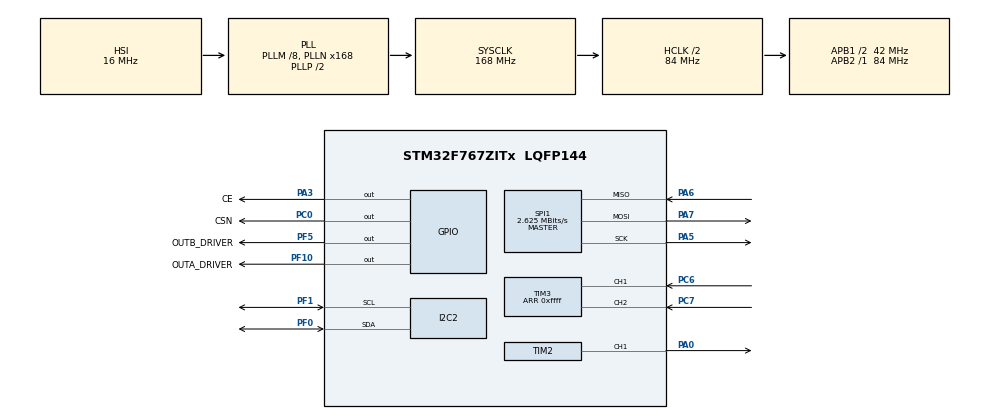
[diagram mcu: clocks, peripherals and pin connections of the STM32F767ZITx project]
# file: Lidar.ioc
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I2C2.Timing=0x00A0A3F7
Mcu.Family=STM32F7
Mcu.Name=STM32F767ZITx
Mcu.Package=LQFP144
NVIC.I2C2_ER_IRQn=true\:2\:0\:true\:false\:true\:true\:true
NVIC.I2C2_EV_IRQn=true\:3\:0\:true\:false\:true\:true\:true
NVIC.PriorityGroup=NVIC_PRIORITYGROUP_4
NVIC.TIM1_UP_TIM10_IRQn=true\:1\:0\:true\:false\:true\:true\:true
PA0/WKUP.Signal=S_TIM2_CH1_ETR
PA3.GPIO_Label=CE
PA3.Signal=GPIO_Output
PA5.Mode=Full_Duplex_Master
PA5.Signal=SPI1_SCK
PA6.Mode=Full_Duplex_Master
PA6.Signal=SPI1_MISO
PA7.Mode=Full_Duplex_Master
PA7.Signal=SPI1_MOSI
PB8.Signal=I2C1_SCL
PB9.Signal=I2C1_SDA
PC0.GPIO_Label=CSN
PC0.Signal=GPIO_Output
PC6.GPIO_PuPd=GPIO_PULLUP
PC6.Signal=S_TIM3_CH1
PC7.GPIO_PuPd=GPIO_PULLUP
PC7.Signal=S_TIM3_CH2
PF0.Mode=I2C
PF0.Signal=I2C2_SDA
PF1.Mode=I2C
PF1.Signal=I2C2_SCL
PF10.GPIO_Label=OUTA_DRIVER
PF10.Signal=GPIO_Output
PF5.GPIO_Label=OUTB_DRIVER
PF5.Signal=GPIO_Output
ProjectManager.HeapSize=0x200
ProjectManager.StackSize=0x400
ProjectManager.TargetToolchain=MDK-ARM V5
RCC.AHBCLKDivider=RCC_SYSCLK_DIV2
RCC.AHBFreq_Value=84000000
RCC.APB1CLKDivider=RCC_HCLK_DIV2
RCC.APB1Freq_Value=42000000
RCC.APB1TimFreq_Value=84000000
RCC.APB2Freq_Value=84000000
RCC.APB2TimFreq_Value=84000000
RCC.CortexFreq_Value=84000000
RCC.HCLKFreq_Value=84000000
RCC.HSE_VALUE=25000000
RCC.HSI_VALUE=16000000
RCC.LSE_VALUE=32768
RCC.PLLM=8
RCC.PLLN=168
RCC.SYSCLKFreq_VALUE=168000000
RCC.SYSCLKSource=RCC_SYSCLKSOURCE_PLLCLK
RCC.USBFreq_Value=168000000
RCC.VCOOutputFreq_Value=336000000
SH.S_TIM2_CH1_ETR.0=TIM2_CH1,PWM Generation1 CH1
SH.S_TIM3_CH1.0=TIM3_CH1,Encoder_Interface
SH.S_TIM3_CH2.0=TIM3_CH2,Encoder_Interface
SPI1.BaudRatePrescaler=SPI_BAUDRATEPRESCALER_32
SPI1.CalculateBaudRate=2.625 MBits/s
SPI1.DataSize=SPI_DATASIZE_8BIT
SPI1.Direction=SPI_DIRECTION_2LINES
SPI1.Mode=SPI_MODE_MASTER
SPI1.VirtualType=VM_MASTER
TIM1.Period=5000
TIM1.Prescaler=9600
TIM2.Channel-PWM\ Generation1\ CH1=TIM_CHANNEL_1
TIM2.Period=100
TIM2.Prescaler=216
TIM3.EncoderMode=TIM_ENCODERMODE_TI12
TIM3.Period=0xffff
VP_TIM1_VS_ClockSourceINT.Mode=Internal
board=custom

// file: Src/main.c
/* USER CODE BEGIN Header */
/**
  ******************************************************************************
  * @file           : main.c
  * @brief          : Main program body
  ******************************************************************************
  * @attention
  *
  * <h2><center>&copy; Copyright (c) 2019 STMicroelectronics.
  * All rights reserved.</center></h2>
  *
  * This software component is licensed by ST under BSD 3-Clause license,
  * the "License"; You may not use this file except in compliance with the
  * License. You may obtain a copy of the License at:
  *                        opensource.org/licenses/BSD-3-Clause
  *
  ******************************************************************************
  */
/* USER CODE END Header */

#include "main.h"

/* USER CODE BEGIN Includes */
#include "lcd_i2cModule.h"
#include "Motor.h"
#include "nrf24l01.h"
#include <stdio.h>
/* USER CODE END Includes */

/* USER CODE BEGIN PD */
uint8_t TxBuffer[2];
uint8_t RxBuffer[4];
uint16_t result;
float distance = 0.00;
float vitesse =  0.00;

/* My address */
uint8_t MyAddress[] = {
	0xE7,
	0xE7,
	0xE7,
	0xE7,
	0xE7
};
/* Receiver address */
uint8_t TxAddress[] = {
	0x7E,
	0x7E,
	0x7E,
	0x7E,
	0x7E
};

uint8_t dataOut[32], dataIn[32];
TM_NRF24L01_Transmit_Status_t transmissionStatus;

/* USER CODE END PD */

I2C_HandleTypeDef hi2c2;

SPI_HandleTypeDef hspi1;

TIM_HandleTypeDef htim1;
TIM_HandleTypeDef htim2;
TIM_HandleTypeDef htim3;

void SystemClock_Config(void);
static void MX_GPIO_Init(void);
static void MX_I2C2_Init(void);
static void MX_TIM1_Init(void);
static void MX_TIM2_Init(void);
static void MX_SPI1_Init(void);
static void MX_TIM3_Init(void);
/* USER CODE BEGIN PFP */
void HAL_TIM_PeriodElapsedCallback(TIM_HandleTypeDef *htim)
{

	TxBuffer[0] = 0x00; //initialisation des registres
		TxBuffer[1] = 0x04;
		HAL_I2C_Master_Transmit(&hi2c2, 0x62<<1, (uint8_t *)TxBuffer, 2, 400);
		HAL_Delay(10);

		TxBuffer[0] = 0x0f; // registre MSB

		HAL_I2C_Master_Transmit(&hi2c2, 0x62<<1, (uint8_t *)TxBuffer, 1, 400); //demande valeur
		HAL_I2C_Master_Receive(&hi2c2, 0x62<<1, (uint8_t *)RxBuffer, 1, 400); //re�oit valeur
		result = RxBuffer[0]<<8; //stock la premiere partie de la valeur
		HAL_Delay(1);

		TxBuffer[0] = 0x10; // registre LSB

		HAL_I2C_Master_Transmit(&hi2c2, 0x62<<1, (uint8_t *)TxBuffer, 1, 400); //demande valeur
		HAL_I2C_Master_Receive(&hi2c2, 0x62<<1, (uint8_t *)RxBuffer, 1, 400); //re�oit valeur
	  result = result | RxBuffer[0]; //Stockage de la valeur complete (2 octets)
		HAL_Delay(1);
		distance = result;
	  vitesse =   Motor(distance);

		//**ecran LCD **//
  LCD_BackLight(LCD_BL_ON);
	LCD_SetCursor(1,1);
	LCD_Send_String("*** PROJET LIDAR ***",STR_NOSLIDE);
  LCD_SetCursor(2,1);
  LCD_Print("VITESSE:%.2f tr/mn",vitesse);
  LCD_SetCursor(3,1);
	LCD_Print("DISTANCE:%.2f cm",distance);
  HAL_Delay(1000);
  LCD_Clear();
	HAL_Delay(20);

	//**Envoie des informations a distance : encore a tester**//

//  sprintf((char *)dataOut, "La vitesse : %f La distance : %f",vitesse,distance);
//	/* Transmit data, goes automatically to TX mode */
//	TM_NRF24L01_Transmit(&hspi1,dataOut);
//	/* Wait for data to be sent */
//	do {
//		transmissionStatus = TM_NRF24L01_GetTransmissionStatus(&hspi1);
//	} while (transmissionStatus == TM_NRF24L01_Transmit_Status_Sending);

}
/* USER CODE END PFP */

int main(void)
{
  /* USER CODE BEGIN 1 */
		TM_NRF24L01_Transmit_Status_t transmissionStatus;
  /* USER CODE END 1 */

  /* MCU Configuration--------------------------------------------------------*/

  /* Reset of all peripherals, Initializes the Flash interface and the Systick. */
  HAL_Init();

  /* Configure the system clock */
  SystemClock_Config();

  /* Initialize all configured peripherals */
  MX_GPIO_Init();
  MX_I2C2_Init();
  MX_TIM1_Init();
  MX_TIM2_Init();
  MX_SPI1_Init();
  MX_TIM3_Init();
  /* USER CODE BEGIN 2 */

		HAL_TIM_PWM_Start(&htim2,TIM_CHANNEL_1);
		HAL_GPIO_WritePin(GPIOF,OUTA_DRIVER_Pin,0); // pour le driver "1 = antihoraire
		HAL_GPIO_WritePin(GPIOF,OUTB_DRIVER_Pin,1); // pour le driver "1 = horaire
		__HAL_TIM_SET_COMPARE(&htim2, TIM_CHANNEL_1, 100);

		LCD_Init();
		LCD_BackLight(LCD_BL_ON);
		LCD_SetCursor(1,1);

	TM_NRF24L01_SoftwareReset(&hspi1);							// reset logiciel du module
	TM_NRF24L01_Init(&hspi1, 50, 32);							// paramétrage de la bande radio 2.4Ghz + 50Mhz, 32 bit de payload
	TM_NRF24L01_setCrcWidth(&hspi1, 8);							// paramétrage du crc : 8 bits
	TM_NRF24L01_disableAutoAcknowledge(&hspi1);					// désactivation de l'auto acknowledge
	TM_NRF24L01_SetMyAddress(&hspi1,MyAddress);					// paramétrage de l'adresse de réception
	TM_NRF24L01_SetTxAddress(&hspi1,TxAddress);					// paramétrage de l'adresse de transmission
	TM_NRF24L01_SetChannel(&hspi1, 50);							// paramétrage de la bande radio 2.4Ghz + 50Mhz, redondant
	TM_NRF24L01_SetRF(&hspi1, TM_NRF24L01_DataRate_1M, TM_NRF24L01_OutputPower_0dBm);	// paramétrage de la vitesse de transmission radio et puissance d'émission
	TM_NRF24L01_PowerUpTx(&hspi1);								// mise en mode Envoie.( faible consommation dans ce mode )

	HAL_TIM_Base_Start_IT(&htim1);//Demarer l'IT
  HAL_TIM_Encoder_Start(&htim3, TIM_CHANNEL_1 | TIM_CHANNEL_2);// Pour l'encodeur

  /* USER CODE END 2 */

  /* Infinite loop */
  while (1)
  {

  }
}

void SystemClock_Config(void)
{
  RCC_OscInitTypeDef RCC_OscInitStruct = {0};
  RCC_ClkInitTypeDef RCC_ClkInitStruct = {0};
  RCC_PeriphCLKInitTypeDef PeriphClkInitStruct = {0};

  /** Configure the main internal regulator output voltage
  */
  __HAL_RCC_PWR_CLK_ENABLE();
  __HAL_PWR_VOLTAGESCALING_CONFIG(PWR_REGULATOR_VOLTAGE_SCALE3);
  /** Initializes the CPU, AHB and APB busses clocks
  */
  RCC_OscInitStruct.OscillatorType = RCC_OSCILLATORTYPE_HSI;
  RCC_OscInitStruct.HSIState = RCC_HSI_ON;
  RCC_OscInitStruct.HSICalibrationValue = RCC_HSICALIBRATION_DEFAULT;
  RCC_OscInitStruct.PLL.PLLState = RCC_PLL_ON;
  RCC_OscInitStruct.PLL.PLLSource = RCC_PLLSOURCE_HSI;
  RCC_OscInitStruct.PLL.PLLM = 8;
  RCC_OscInitStruct.PLL.PLLN = 168;
  RCC_OscInitStruct.PLL.PLLP = RCC_PLLP_DIV2;
  RCC_OscInitStruct.PLL.PLLQ = 2;
  if (HAL_RCC_OscConfig(&RCC_OscInitStruct) != HAL_OK)
  {
    Error_Handler();
  }
  /** Initializes the CPU, AHB and APB busses clocks
  */
  RCC_ClkInitStruct.ClockType = RCC_CLOCKTYPE_HCLK|RCC_CLOCKTYPE_SYSCLK
                              |RCC_CLOCKTYPE_PCLK1|RCC_CLOCKTYPE_PCLK2;
  RCC_ClkInitStruct.SYSCLKSource = RCC_SYSCLKSOURCE_PLLCLK;
  RCC_ClkInitStruct.AHBCLKDivider = RCC_SYSCLK_DIV2;
  RCC_ClkInitStruct.APB1CLKDivider = RCC_HCLK_DIV2;
  RCC_ClkInitStruct.APB2CLKDivider = RCC_HCLK_DIV1;

  if (HAL_RCC_ClockConfig(&RCC_ClkInitStruct, FLASH_LATENCY_2) != HAL_OK)
  {
    Error_Handler();
  }
  PeriphClkInitStruct.PeriphClockSelection = RCC_PERIPHCLK_I2C2;
  PeriphClkInitStruct.I2c2ClockSelection = RCC_I2C2CLKSOURCE_PCLK1;
  if (HAL_RCCEx_PeriphCLKConfig(&PeriphClkInitStruct) != HAL_OK)
  {
    Error_Handler();
  }
}

static void MX_I2C2_Init(void)
{

  hi2c2.Instance = I2C2;
  hi2c2.Init.Timing = 0x00A0A3F7;
  hi2c2.Init.OwnAddress1 = 0;
  hi2c2.Init.AddressingMode = I2C_ADDRESSINGMODE_7BIT;
  hi2c2.Init.DualAddressMode = I2C_DUALADDRESS_DISABLE;
  hi2c2.Init.OwnAddress2 = 0;
  hi2c2.Init.OwnAddress2Masks = I2C_OA2_NOMASK;
  hi2c2.Init.GeneralCallMode = I2C_GENERALCALL_DISABLE;
  hi2c2.Init.NoStretchMode = I2C_NOSTRETCH_DISABLE;
  if (HAL_I2C_Init(&hi2c2) != HAL_OK)
  {
    Error_Handler();
  }
  /** Configure Analogue filter
  */
  if (HAL_I2CEx_ConfigAnalogFilter(&hi2c2, I2C_ANALOGFILTER_ENABLE) != HAL_OK)
  {
    Error_Handler();
  }
  /** Configure Digital filter
  */
  if (HAL_I2CEx_ConfigDigitalFilter(&hi2c2, 0) != HAL_OK)
  {
    Error_Handler();
  }

}

static void MX_SPI1_Init(void)
{

  /* SPI1 parameter configuration*/
  hspi1.Instance = SPI1;
  hspi1.Init.Mode = SPI_MODE_MASTER;
  hspi1.Init.Direction = SPI_DIRECTION_2LINES;
  hspi1.Init.DataSize = SPI_DATASIZE_8BIT;
  hspi1.Init.CLKPolarity = SPI_POLARITY_LOW;
  hspi1.Init.CLKPhase = SPI_PHASE_1EDGE;
  hspi1.Init.NSS = SPI_NSS_SOFT;
  hspi1.Init.BaudRatePrescaler = SPI_BAUDRATEPRESCALER_32;
  hspi1.Init.FirstBit = SPI_FIRSTBIT_MSB;
  hspi1.Init.TIMode = SPI_TIMODE_DISABLE;
  hspi1.Init.CRCCalculation = SPI_CRCCALCULATION_DISABLE;
  hspi1.Init.CRCPolynomial = 7;
  hspi1.Init.CRCLength = SPI_CRC_LENGTH_DATASIZE;
  hspi1.Init.NSSPMode = SPI_NSS_PULSE_ENABLE;
  if (HAL_SPI_Init(&hspi1) != HAL_OK)
  {
    Error_Handler();
  }

}

static void MX_TIM1_Init(void)
{

  TIM_ClockConfigTypeDef sClockSourceConfig = {0};
  TIM_MasterConfigTypeDef sMasterConfig = {0};

  htim1.Instance = TIM1;
  htim1.Init.Prescaler = 9600;
  htim1.Init.CounterMode = TIM_COUNTERMODE_UP;
  htim1.Init.Period = 5000;
  htim1.Init.ClockDivision = TIM_CLOCKDIVISION_DIV1;
  htim1.Init.RepetitionCounter = 0;
  htim1.Init.AutoReloadPreload = TIM_AUTORELOAD_PRELOAD_DISABLE;
  if (HAL_TIM_Base_Init(&htim1) != HAL_OK)
  {
    Error_Handler();
  }
  sClockSourceConfig.ClockSource = TIM_CLOCKSOURCE_INTERNAL;
  if (HAL_TIM_ConfigClockSource(&htim1, &sClockSourceConfig) != HAL_OK)
  {
    Error_Handler();
  }
  sMasterConfig.MasterOutputTrigger = TIM_TRGO_RESET;
  sMasterConfig.MasterOutputTrigger2 = TIM_TRGO2_RESET;
  sMasterConfig.MasterSlaveMode = TIM_MASTERSLAVEMODE_DISABLE;
  if (HAL_TIMEx_MasterConfigSynchronization(&htim1, &sMasterConfig) != HAL_OK)
  {
    Error_Handler();
  }

}

static void MX_TIM2_Init(void)
{

  TIM_MasterConfigTypeDef sMasterConfig = {0};
  TIM_OC_InitTypeDef sConfigOC = {0};

  htim2.Instance = TIM2;
  htim2.Init.Prescaler = 216;
  htim2.Init.CounterMode = TIM_COUNTERMODE_UP;
  htim2.Init.Period = 100;
  htim2.Init.ClockDivision = TIM_CLOCKDIVISION_DIV1;
  htim2.Init.AutoReloadPreload = TIM_AUTORELOAD_PRELOAD_DISABLE;
  if (HAL_TIM_PWM_Init(&htim2) != HAL_OK)
  {
    Error_Handler();
  }
  sMasterConfig.MasterOutputTrigger = TIM_TRGO_RESET;
  sMasterConfig.MasterSlaveMode = TIM_MASTERSLAVEMODE_DISABLE;
  if (HAL_TIMEx_MasterConfigSynchronization(&htim2, &sMasterConfig) != HAL_OK)
  {
    Error_Handler();
  }
  sConfigOC.OCMode = TIM_OCMODE_PWM1;
  sConfigOC.Pulse = 0;
  sConfigOC.OCPolarity = TIM_OCPOLARITY_HIGH;
  sConfigOC.OCFastMode = TIM_OCFAST_DISABLE;
  if (HAL_TIM_PWM_ConfigChannel(&htim2, &sConfigOC, TIM_CHANNEL_1) != HAL_OK)
  {
    Error_Handler();
  }
  HAL_TIM_MspPostInit(&htim2);

}

static void MX_TIM3_Init(void)
{

  TIM_Encoder_InitTypeDef sConfig = {0};
  TIM_MasterConfigTypeDef sMasterConfig = {0};

  htim3.Instance = TIM3;
  htim3.Init.Prescaler = 0;
  htim3.Init.CounterMode = TIM_COUNTERMODE_UP;
  htim3.Init.Period = 0xffff;
  htim3.Init.ClockDivision = TIM_CLOCKDIVISION_DIV1;
  htim3.Init.AutoReloadPreload = TIM_AUTORELOAD_PRELOAD_DISABLE;
  sConfig.EncoderMode = TIM_ENCODERMODE_TI12;
  sConfig.IC1Polarity = TIM_ICPOLARITY_RISING;
  sConfig.IC1Selection = TIM_ICSELECTION_DIRECTTI;
  sConfig.IC1Prescaler = TIM_ICPSC_DIV1;
  sConfig.IC1Filter = 0;
  sConfig.IC2Polarity = TIM_ICPOLARITY_RISING;
  sConfig.IC2Selection = TIM_ICSELECTION_DIRECTTI;
  sConfig.IC2Prescaler = TIM_ICPSC_DIV1;
  sConfig.IC2Filter = 0;
  if (HAL_TIM_Encoder_Init(&htim3, &sConfig) != HAL_OK)
  {
    Error_Handler();
  }
  sMasterConfig.MasterOutputTrigger = TIM_TRGO_RESET;
  sMasterConfig.MasterSlaveMode = TIM_MASTERSLAVEMODE_DISABLE;
  if (HAL_TIMEx_MasterConfigSynchronization(&htim3, &sMasterConfig) != HAL_OK)
  {
    Error_Handler();
  }

}

static void MX_GPIO_Init(void)
{
  GPIO_InitTypeDef GPIO_InitStruct = {0};

  /* GPIO Ports Clock Enable */
  __HAL_RCC_GPIOF_CLK_ENABLE();
  __HAL_RCC_GPIOC_CLK_ENABLE();
  __HAL_RCC_GPIOA_CLK_ENABLE();
  __HAL_RCC_GPIOB_CLK_ENABLE();

  /*Configure GPIO pin Output Level */
  HAL_GPIO_WritePin(GPIOF, OUTB_DRIVER_Pin|OUTA_DRIVER_Pin, GPIO_PIN_RESET);

  /*Configure GPIO pin Output Level */
  HAL_GPIO_WritePin(CSN_GPIO_Port, CSN_Pin, GPIO_PIN_RESET);

  /*Configure GPIO pin Output Level */
  HAL_GPIO_WritePin(CE_GPIO_Port, CE_Pin, GPIO_PIN_RESET);

  /*Configure GPIO pins : OUTB_DRIVER_Pin OUTA_DRIVER_Pin */
  GPIO_InitStruct.Pin = OUTB_DRIVER_Pin|OUTA_DRIVER_Pin;
  GPIO_InitStruct.Mode = GPIO_MODE_OUTPUT_PP;
  GPIO_InitStruct.Pull = GPIO_NOPULL;
  GPIO_InitStruct.Speed = GPIO_SPEED_FREQ_LOW;
  HAL_GPIO_Init(GPIOF, &GPIO_InitStruct);

  /*Configure GPIO pin : CSN_Pin */
  GPIO_InitStruct.Pin = CSN_Pin;
  GPIO_InitStruct.Mode = GPIO_MODE_OUTPUT_PP;
  GPIO_InitStruct.Pull = GPIO_NOPULL;
  GPIO_InitStruct.Speed = GPIO_SPEED_FREQ_LOW;
  HAL_GPIO_Init(CSN_GPIO_Port, &GPIO_InitStruct);

  /*Configure GPIO pin : CE_Pin */
  GPIO_InitStruct.Pin = CE_Pin;
  GPIO_InitStruct.Mode = GPIO_MODE_OUTPUT_PP;
  GPIO_InitStruct.Pull = GPIO_NOPULL;
  GPIO_InitStruct.Speed = GPIO_SPEED_FREQ_LOW;
  HAL_GPIO_Init(CE_GPIO_Port, &GPIO_InitStruct);

  /*Configure GPIO pins : PB8 PB9 */
  GPIO_InitStruct.Pin = GPIO_PIN_8|GPIO_PIN_9;
  GPIO_InitStruct.Mode = GPIO_MODE_AF_OD;
  GPIO_InitStruct.Pull = GPIO_PULLUP;
  GPIO_InitStruct.Speed = GPIO_SPEED_FREQ_VERY_HIGH;
  GPIO_InitStruct.Alternate = GPIO_AF4_I2C1;
  HAL_GPIO_Init(GPIOB, &GPIO_InitStruct);

}

void Error_Handler(void)
{
}

/************************ (C) COPYRIGHT STMicroelectronics *****END OF FILE****/
